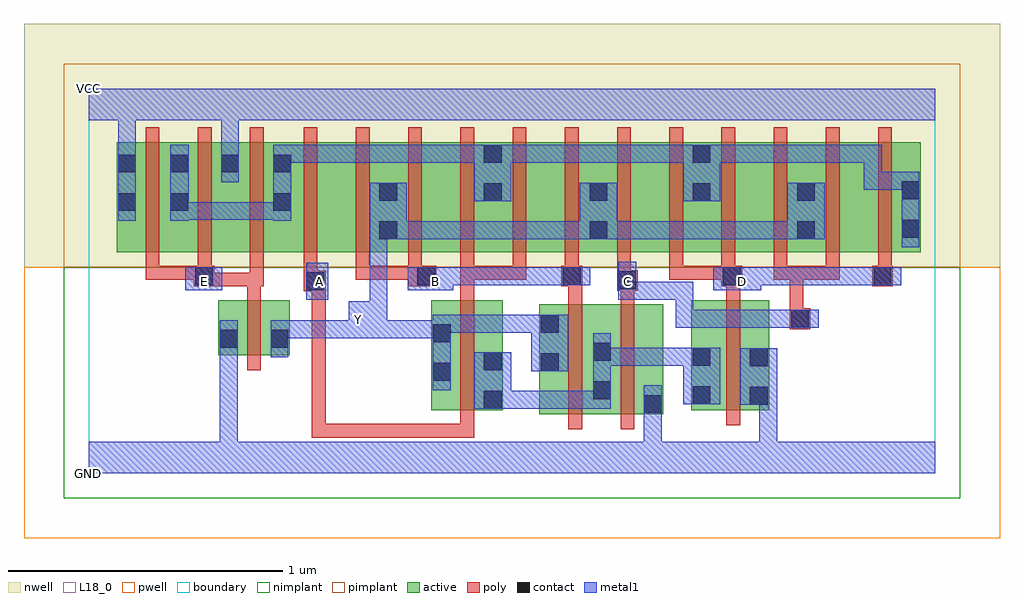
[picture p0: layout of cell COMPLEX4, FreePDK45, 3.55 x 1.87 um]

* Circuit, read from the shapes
.subckt COMPLEX4 A B C D E GND VCC Y
M1 Y E GND VSUBS nfet w=0.2u l=0.05u
M2 n1 A Y VSUBS nfet w=0.4u l=0.05u
M3 n1 B Y VSUBS nfet w=0.4u l=0.05u
M4 GND C n1 VSUBS nfet w=0.4u l=0.05u
M5 GND D n1 VSUBS nfet w=0.4u l=0.05u
M6 n2 E VCC n3 pfet w=0.4u l=0.05u m=3
M7 n4 A n2 n3 pfet w=0.4u l=0.05u
M8 Y B n4 n3 pfet w=0.4u l=0.05u
M9 n5 B Y n3 pfet w=0.4u l=0.05u
M10 n2 A n5 n3 pfet w=0.4u l=0.05u
M11 n6 A n2 n3 pfet w=0.4u l=0.05u
M12 Y B n6 n3 pfet w=0.4u l=0.05u
M13 n7 C Y n3 pfet w=0.4u l=0.05u
M14 n2 D n7 n3 pfet w=0.4u l=0.05u
M15 n8 D n2 n3 pfet w=0.4u l=0.05u
M16 Y C n8 n3 pfet w=0.4u l=0.05u
M17 n9 C Y n3 pfet w=0.4u l=0.05u
M18 n2 D n9 n3 pfet w=0.4u l=0.05u
.ends

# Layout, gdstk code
import gdstk
lib = gdstk.Library(unit=1e-6, precision=1e-09)
def R(c, l, rs):  # rectangles x0, y0, x1, y1
    for r in rs: c.add(gdstk.rectangle(r[:2], r[2:], *l))
def A(c, l, x, y, w, h, nx, ny, dx, dy):  # array of equal rectangles
    R(c, l, [(x+i*dx, y+j*dy, x+i*dx+w, y+j*dy+h) for i in range(nx) for j in range(ny)])
active = (1, 0)
pwell = (2, 0)
nwell = (3, 0)
nimplant = (4, 0)
pimplant = (5, 0)
poly = (9, 0)
contact = (10, 0)
metal1 = (11, 0)
L18_0 = (18, 0)
boundary = (235, 0)

complex4 = lib.new_cell('COMPLEX4')
A(complex4, active, 1.432, 0.805, 0.075, 0.395, 3, 1, 0.76, 0)
A(complex4, active, 2.042, 0.805, 0.225, 0.4, 3, 1, 0.38, 0)
R(complex4, active, [(1.64,0.215,1.905,0.615), (1.83,0.215,2.09,0.615), (2.015,0.215,2.09,0.492), (1.247,0.23,1.507,0.63), (1.432,0.23,1.507,0.537), (2.192,0.23,2.475,0.63), (2.4,0.245,2.475,0.492), (2.192,0.247,2.267,0.492), (1.83,0.265,1.905,0.492), (1.247,0.295,1.322,0.63), (1.64,0.295,1.715,0.615), (0.472,0.43,0.547,0.63), (0.472,0.43,0.732,0.63), (0.657,0.43,0.732,0.63), (0.102,0.805,0.367,1.205), (0.102,0.805,0.177,1.205), (0.292,0.805,0.552,1.205), (0.477,0.805,0.742,1.205), (0.477,0.805,0.552,1.205), (0.667,0.805,0.902,1.205), (0.902,0.805,1.127,1.205), (1.052,0.805,1.282,1.205), (1.052,0.805,1.127,1.07), (1.282,0.805,1.507,1.205), (1.432,0.805,1.662,1.205), (1.662,0.805,1.892,1.205), (1.817,0.805,2.042,1.205), (1.817,0.805,1.892,1.07), (2.192,0.805,2.422,1.205), (2.572,0.805,2.802,1.205), (2.572,0.805,2.647,1.07), (0.292,0.907,0.367,1.2), (0.667,0.907,0.742,1.2)])
R(complex4, pwell, [(-0.235,-0.235,3.315,0.75)])
R(complex4, nwell, [(-0.235,0.75,3.315,1.635)])
R(complex4, nimplant, [(-0.09,-0.09,3.17,0.75)])
R(complex4, pimplant, [(-0.09,0.75,3.17,1.49)])
A(complex4, poly, 0.972, 0.705, 0.05, 0.095, 5, 1, 0.19, 0)
A(complex4, poly, 1.162, 0.705, 0.05, 0.05, 3, 1, 0.19, 0)
A(complex4, poly, 2.112, 0.705, 0.05, 0.095, 5, 1, 0.19, 0)
A(complex4, poly, 0.207, 0.75, 0.05, 0.51, 3, 1, 0.19, 0)
A(complex4, poly, 0.782, 0.75, 0.05, 0.51, 12, 1, 0.19, 0)
R(complex4, poly, [(0.812,0.13,0.862,0.18), (0.812,0.13,0.862,0.18), (0.812,0.13,0.862,0.18), (0.812,0.13,0.862,0.18), (0.812,0.13,0.862,0.18), (0.812,0.13,0.862,0.18), (0.812,0.13,0.862,0.18), (0.812,0.13,0.862,0.18), (0.812,0.13,0.862,0.18), (0.812,0.13,1.065,0.18), (0.812,0.13,0.862,0.712), (1.015,0.13,1.197,0.18), (1.015,0.13,1.065,0.18), (1.015,0.13,1.065,0.18), (1.015,0.13,1.065,0.18), (1.147,0.13,1.197,0.18), (1.147,0.13,1.197,0.18), (1.147,0.13,1.197,0.18), (1.147,0.13,1.402,0.18), (1.352,0.13,1.402,0.225), (1.352,0.13,1.402,0.18), (1.352,0.13,1.402,0.18), (1.352,0.13,1.402,0.18), (1.745,0.16,1.795,0.67), (1.935,0.16,1.985,0.67), (1.352,0.175,1.402,0.685), (2.32,0.175,2.37,0.685), (0.577,0.375,0.627,0.685), (2.55,0.525,2.625,0.6), (2.55,0.55,2.6,0.755), (1.745,0.62,1.795,0.73), (1.935,0.62,1.985,0.715), (0.577,0.635,0.627,0.73), (1.352,0.635,1.402,0.755), (2.32,0.635,2.37,0.73), (0.782,0.662,0.862,0.737), (1.922,0.665,1.997,0.74), (0.382,0.68,0.457,0.755), (0.407,0.68,0.627,0.73), (0.577,0.68,0.627,0.73), (0.577,0.68,0.627,0.73), (0.577,0.68,0.637,0.73), (0.587,0.68,0.637,0.8), (1.162,0.68,1.265,0.755), (1.72,0.68,1.795,0.755), (2.302,0.68,2.377,0.755), (2.85,0.68,2.925,0.755), (0.782,0.687,0.832,0.8), (1.922,0.69,1.972,0.8), (0.207,0.705,0.257,0.8), (0.207,0.705,0.257,0.755), (0.207,0.705,0.257,0.755), (0.207,0.705,0.257,0.755), (0.207,0.705,0.432,0.755), (0.397,0.705,0.447,0.8), (0.972,0.705,1.022,0.755), (0.972,0.705,1.212,0.755), (1.162,0.705,1.212,0.755), (1.352,0.705,1.592,0.755), (1.542,0.705,1.592,0.755), (1.542,0.705,1.592,0.755), (2.112,0.705,2.162,0.755), (2.112,0.705,2.352,0.755), (2.302,0.705,2.352,0.755), (2.302,0.705,2.352,0.755), (2.492,0.705,2.6,0.755), (2.55,0.705,2.732,0.755), (2.55,0.705,2.6,0.755), (2.55,0.705,2.6,0.755), (2.55,0.705,2.6,0.755), (2.55,0.705,2.6,0.755), (2.682,0.705,2.732,0.755)])
R(complex4, contact, [(2.02,0.22,2.085,0.285), (1.437,0.235,1.502,0.3), (2.405,0.25,2.47,0.315), (2.197,0.252,2.262,0.317), (1.835,0.27,1.9,0.335), (1.252,0.337,1.317,0.402), (1.645,0.372,1.71,0.437), (1.437,0.375,1.502,0.44), (2.405,0.39,2.47,0.455), (2.197,0.392,2.262,0.457), (1.835,0.41,1.9,0.475), (0.477,0.457,0.542,0.522), (0.662,0.457,0.727,0.522), (1.252,0.477,1.317,0.542), (1.645,0.512,1.71,0.577), (2.555,0.53,2.62,0.595), (0.792,0.667,0.857,0.732), (1.927,0.67,1.992,0.735), (0.387,0.685,0.452,0.75), (1.195,0.685,1.26,0.75), (1.725,0.685,1.79,0.75), (2.307,0.685,2.372,0.75), (2.855,0.685,2.92,0.75), (1.057,0.852,1.122,0.917), (1.822,0.852,1.887,0.917), (2.577,0.852,2.642,0.917), (2.957,0.857,3.022,0.922), (0.107,0.955,0.172,1.02), (0.297,0.955,0.362,1.02), (0.672,0.955,0.737,1.02), (1.437,0.99,1.502,1.055), (2.197,0.99,2.262,1.055), (1.057,0.992,1.122,1.057), (1.822,0.992,1.887,1.057), (2.577,0.992,2.642,1.057), (2.957,0.997,3.022,1.062), (0.107,1.095,0.172,1.16), (0.297,1.095,0.362,1.16), (0.482,1.095,0.547,1.16), (0.672,1.095,0.737,1.16), (1.437,1.13,1.502,1.195), (2.197,1.13,2.262,1.195)])
R(complex4, metal1, [(0,0,3.08,0.115), (0.477,0.05,0.542,0.115), (0.477,0.05,0.542,0.115), (0.477,0.05,0.542,0.115), (0.477,0.05,0.542,0.115), (0.477,0.05,0.542,0.115), (0.477,0.05,0.542,0.115), (0.477,0.05,0.542,0.487), (2.02,0.05,2.085,0.115), (2.02,0.05,2.085,0.115), (2.02,0.05,2.085,0.25), (2.44,0.05,2.505,0.115), (2.44,0.05,2.505,0.115), (2.44,0.05,2.505,0.315), (2.02,0.185,2.085,0.32), (1.402,0.235,1.537,0.44), (1.472,0.235,1.617,0.3), (1.552,0.235,1.617,0.3), (1.552,0.235,1.675,0.3), (1.61,0.235,1.675,0.3), (1.61,0.235,1.755,0.3), (1.69,0.235,1.755,0.3), (1.69,0.235,1.9,0.3), (1.835,0.235,1.9,0.51), (2.37,0.25,2.505,0.455), (2.162,0.252,2.297,0.457), (1.252,0.302,1.317,0.577), (1.61,0.372,1.745,0.577), (1.835,0.392,2.062,0.457), (1.997,0.392,2.062,0.457), (1.997,0.392,2.062,0.457), (1.997,0.392,2.062,0.457), (1.997,0.392,2.2,0.457), (2.135,0.392,2.2,0.457), (2.135,0.392,2.227,0.457), (0.477,0.422,0.542,0.557), (0.662,0.422,0.727,0.557), (0.662,0.492,0.727,0.557), (0.662,0.492,0.727,0.557), (0.662,0.492,0.875,0.557), (0.81,0.492,0.875,0.557), (0.81,0.492,0.875,0.557), (0.81,0.492,0.875,0.557), (0.81,0.492,1.087,0.557), (0.947,0.492,1.087,0.627), (1.022,0.492,1.087,0.557), (1.022,0.492,1.087,0.557), (1.022,0.492,1.087,0.557), (1.022,0.492,1.087,0.557), (1.022,0.492,1.317,0.557), (1.252,0.512,1.465,0.577), (1.4,0.512,1.465,0.577), (1.4,0.512,1.465,0.577), (1.4,0.512,1.465,0.577), (1.4,0.512,1.605,0.577), (1.54,0.512,1.605,0.577), (1.54,0.512,1.675,0.577), (2.135,0.53,2.2,0.595), (2.135,0.53,2.447,0.595), (2.135,0.53,2.2,0.697), (2.382,0.53,2.447,0.595), (2.382,0.53,2.447,0.595), (2.382,0.53,2.447,0.595), (2.382,0.53,2.447,0.595), (2.382,0.53,2.447,0.595), (2.382,0.53,2.585,0.595), (2.52,0.53,2.655,0.595), (1.022,0.562,1.087,0.917), (0.792,0.632,0.872,0.767), (1.927,0.632,2.06,0.697), (1.927,0.632,1.992,0.77), (1.995,0.632,2.06,0.697), (1.995,0.632,2.2,0.697), (2.135,0.632,2.2,0.697), (2.135,0.632,2.2,0.697), (2.135,0.632,2.2,0.697), (0.352,0.667,0.487,0.75), (1.16,0.667,1.327,0.75), (2.272,0.667,2.447,0.75), (1.262,0.685,1.327,0.75), (1.262,0.685,1.327,0.75), (1.262,0.685,1.465,0.75), (1.4,0.685,1.465,0.75), (1.4,0.685,1.465,0.75), (1.4,0.685,1.465,0.75), (1.4,0.685,1.605,0.75), (1.54,0.685,1.605,0.75), (1.54,0.685,1.675,0.75), (1.61,0.685,1.675,0.75), (1.61,0.685,1.755,0.75), (1.69,0.685,1.825,0.75), (2.382,0.685,2.447,0.75), (2.382,0.685,2.447,0.75), (2.382,0.685,2.585,0.75), (2.52,0.685,2.585,0.75), (2.52,0.685,2.585,0.75), (2.52,0.685,2.585,0.75), (2.52,0.685,2.747,0.75), (2.682,0.685,2.747,0.75), (2.682,0.685,2.885,0.75), (2.82,0.685,2.885,0.75), (2.82,0.685,2.885,0.75), (2.82,0.685,2.955,0.75), (2.957,0.822,3.022,1.097), (1.022,0.852,1.157,1.057), (1.092,0.852,1.157,0.917), (1.092,0.852,1.157,0.917), (1.092,0.852,1.327,0.917), (1.262,0.852,1.327,0.917), (1.262,0.852,1.465,0.917), (1.4,0.852,1.465,0.917), (1.4,0.852,1.465,0.917), (1.4,0.852,1.465,0.917), (1.4,0.852,1.605,0.917), (1.54,0.852,1.605,0.917), (1.54,0.852,1.675,0.917), (1.61,0.852,1.675,0.917), (1.61,0.852,1.852,0.917), (1.787,0.852,1.852,0.917), (1.787,0.852,1.852,0.917), (1.787,0.852,1.922,1.057), (1.857,0.852,2.06,0.917), (1.995,0.852,2.06,0.917), (1.995,0.852,2.06,0.917), (1.995,0.852,2.06,0.917), (1.995,0.852,2.2,0.917), (2.135,0.852,2.2,0.917), (2.135,0.852,2.2,0.917), (2.135,0.852,2.2,0.917), (2.135,0.852,2.447,0.917), (2.382,0.852,2.447,0.917), (2.382,0.852,2.447,0.917), (2.382,0.852,2.447,0.917), (2.382,0.852,2.607,0.917), (2.542,0.852,2.607,0.917), (2.542,0.852,2.607,0.917), (2.542,0.852,2.677,1.057), (0.107,0.92,0.172,1.195), (0.297,0.92,0.365,1.195), (0.672,0.92,0.737,1.195), (0.3,0.922,0.365,0.987), (0.3,0.922,0.365,0.987), (0.3,0.922,0.502,0.987), (0.437,0.922,0.502,0.987), (0.437,0.922,0.502,0.987), (0.437,0.922,0.502,0.987), (0.437,0.922,0.737,0.987), (1.402,0.99,1.537,1.195), (2.162,0.99,2.297,1.195), (2.82,1.032,2.885,1.097), (2.82,1.032,3.022,1.097), (2.82,1.032,2.885,1.195), (2.957,1.032,3.022,1.097), (2.957,1.032,3.022,1.097), (0.482,1.06,0.547,1.195), (0.107,1.13,0.172,1.35), (0.482,1.13,0.547,1.35), (0.672,1.13,0.737,1.195), (0.672,1.13,0.737,1.195), (0.672,1.13,0.875,1.195), (0.81,1.13,0.875,1.195), (0.81,1.13,0.875,1.195), (0.81,1.13,0.875,1.195), (0.81,1.13,0.875,1.195), (0.81,1.13,0.875,1.195), (0.81,1.13,1.18,1.195), (1.115,1.13,1.18,1.195), (1.115,1.13,1.18,1.195), (1.115,1.13,1.18,1.195), (1.115,1.13,1.327,1.195), (1.262,1.13,1.327,1.195), (1.262,1.13,1.467,1.195), (1.402,1.13,1.467,1.195), (1.402,1.13,1.467,1.195), (1.472,1.13,1.605,1.195), (1.54,1.13,1.605,1.195), (1.54,1.13,1.675,1.195), (1.61,1.13,1.675,1.195), (1.61,1.13,1.855,1.195), (1.79,1.13,1.855,1.195), (1.79,1.13,1.855,1.195), (1.79,1.13,1.855,1.195), (1.79,1.13,2.062,1.195), (1.997,1.13,2.062,1.195), (1.997,1.13,2.062,1.195), (1.997,1.13,2.062,1.195), (1.997,1.13,2.2,1.195), (2.135,1.13,2.2,1.195), (2.135,1.13,2.227,1.195), (2.232,1.13,2.435,1.195), (2.37,1.13,2.435,1.195), (2.37,1.13,2.435,1.195), (2.37,1.13,2.435,1.195), (2.37,1.13,2.61,1.195), (2.545,1.13,2.61,1.195), (2.545,1.13,2.642,1.195), (2.577,1.13,2.642,1.195), (2.577,1.13,2.747,1.195), (2.682,1.13,2.747,1.195), (2.682,1.13,2.885,1.195), (2.82,1.13,2.885,1.195), (0,1.285,3.08,1.4)])
A(complex4, L18_0, 0.387, 0.667, 0.065, 0.065, 3, 1, 0.42, 0)
R(complex4, L18_0, [(0,0,3.08,0.115), (0.477,0.05,0.542,0.115), (0.477,0.05,0.542,0.115), (0.477,0.05,0.542,0.115), (0.477,0.05,0.542,0.115), (0.477,0.05,0.542,0.115), (0.477,0.05,0.542,0.115), (0.477,0.05,0.542,0.487), (2.02,0.05,2.085,0.115), (2.02,0.05,2.085,0.115), (2.02,0.05,2.085,0.25), (2.44,0.05,2.505,0.115), (2.44,0.05,2.505,0.115), (2.44,0.05,2.505,0.315), (2.02,0.185,2.085,0.32), (2.37,0.25,2.505,0.455), (1.252,0.302,1.317,0.577), (1.61,0.372,1.745,0.577), (0.477,0.422,0.542,0.557), (0.662,0.422,0.727,0.557), (0.662,0.492,0.727,0.557), (0.662,0.492,0.727,0.557), (0.662,0.492,0.875,0.557), (0.81,0.492,0.875,0.557), (0.81,0.492,0.875,0.557), (0.81,0.492,0.875,0.557), (0.81,0.492,1.087,0.557), (0.947,0.492,1.087,0.627), (1.022,0.492,1.087,0.557), (1.022,0.492,1.087,0.557), (1.022,0.492,1.087,0.557), (1.022,0.492,1.087,0.557), (1.022,0.492,1.317,0.557), (1.252,0.512,1.465,0.577), (1.4,0.512,1.465,0.577), (1.4,0.512,1.465,0.577), (1.4,0.512,1.465,0.577), (1.4,0.512,1.605,0.577), (1.54,0.512,1.605,0.577), (1.54,0.512,1.675,0.577), (0.947,0.527,1.012,0.592), (2.135,0.53,2.2,0.595), (2.135,0.53,2.2,0.697), (2.135,0.53,2.447,0.595), (2.382,0.53,2.447,0.595), (2.382,0.53,2.447,0.595), (2.382,0.53,2.447,0.595), (2.382,0.53,2.447,0.595), (2.382,0.53,2.447,0.595), (2.382,0.53,2.585,0.595), (2.52,0.53,2.655,0.595), (1.022,0.562,1.087,0.917), (0.792,0.632,0.872,0.767), (1.927,0.632,1.992,0.77), (1.927,0.632,2.06,0.697), (1.995,0.632,2.06,0.697), (1.995,0.632,2.2,0.697), (2.135,0.632,2.2,0.697), (2.135,0.632,2.2,0.697), (2.135,0.632,2.2,0.697), (0.352,0.667,0.487,0.75), (1.16,0.667,1.327,0.75), (1.927,0.667,1.992,0.732), (2.272,0.667,2.447,0.75), (2.347,0.667,2.412,0.732), (1.262,0.685,1.327,0.75), (1.262,0.685,1.327,0.75), (1.262,0.685,1.465,0.75), (1.4,0.685,1.465,0.75), (1.4,0.685,1.465,0.75), (1.4,0.685,1.465,0.75), (1.4,0.685,1.605,0.75), (1.54,0.685,1.605,0.75), (1.54,0.685,1.675,0.75), (1.61,0.685,1.675,0.75), (1.61,0.685,1.755,0.75), (1.69,0.685,1.825,0.75), (2.382,0.685,2.447,0.75), (2.382,0.685,2.447,0.75), (2.382,0.685,2.585,0.75), (2.52,0.685,2.585,0.75), (2.52,0.685,2.585,0.75), (2.52,0.685,2.585,0.75), (2.52,0.685,2.747,0.75), (2.682,0.685,2.747,0.75), (2.682,0.685,2.885,0.75), (2.82,0.685,2.885,0.75), (2.82,0.685,2.885,0.75), (2.82,0.685,2.955,0.75), (1.022,0.852,1.157,1.057), (1.092,0.852,1.157,0.917), (1.092,0.852,1.157,0.917), (1.092,0.852,1.327,0.917), (1.262,0.852,1.327,0.917), (1.262,0.852,1.465,0.917), (1.4,0.852,1.465,0.917), (1.4,0.852,1.465,0.917), (1.4,0.852,1.465,0.917), (1.4,0.852,1.605,0.917), (1.54,0.852,1.605,0.917), (1.54,0.852,1.675,0.917), (1.61,0.852,1.675,0.917), (1.61,0.852,1.852,0.917), (1.787,0.852,1.852,0.917), (1.787,0.852,1.852,0.917), (1.787,0.852,1.922,1.057), (1.857,0.852,2.06,0.917), (1.995,0.852,2.06,0.917), (1.995,0.852,2.06,0.917), (1.995,0.852,2.06,0.917), (1.995,0.852,2.2,0.917), (2.135,0.852,2.2,0.917), (2.135,0.852,2.2,0.917), (2.135,0.852,2.2,0.917), (2.135,0.852,2.447,0.917), (2.382,0.852,2.447,0.917), (2.382,0.852,2.447,0.917), (2.382,0.852,2.447,0.917), (2.382,0.852,2.607,0.917), (2.542,0.852,2.607,0.917), (2.542,0.852,2.607,0.917), (2.542,0.852,2.677,1.057), (0.107,0.92,0.172,1.195), (0.482,1.06,0.547,1.195), (0.107,1.13,0.172,1.35), (0.482,1.13,0.547,1.35), (0,1.285,3.08,1.4)])
R(complex4, boundary, [(0,0,3.08,1.4)])
complex4.add(gdstk.Label('A', (0.84,0.7), layer=11, texttype=0))
complex4.add(gdstk.Label('B', (1.26,0.7), layer=11, texttype=0))
complex4.add(gdstk.Label('C', (1.96,0.7), layer=11, texttype=0))
complex4.add(gdstk.Label('D', (2.38,0.7), layer=11, texttype=0))
complex4.add(gdstk.Label('E', (0.42,0.7), layer=11, texttype=0))
complex4.add(gdstk.Label('Y', (0.98,0.56), layer=11, texttype=0))
complex4.add(gdstk.Label('VCC', (0,1.4), layer=11, texttype=0))
complex4.add(gdstk.Label('GND', (0,0), layer=11, texttype=0))

lib.write_gds('COMPLEX4.gds')
